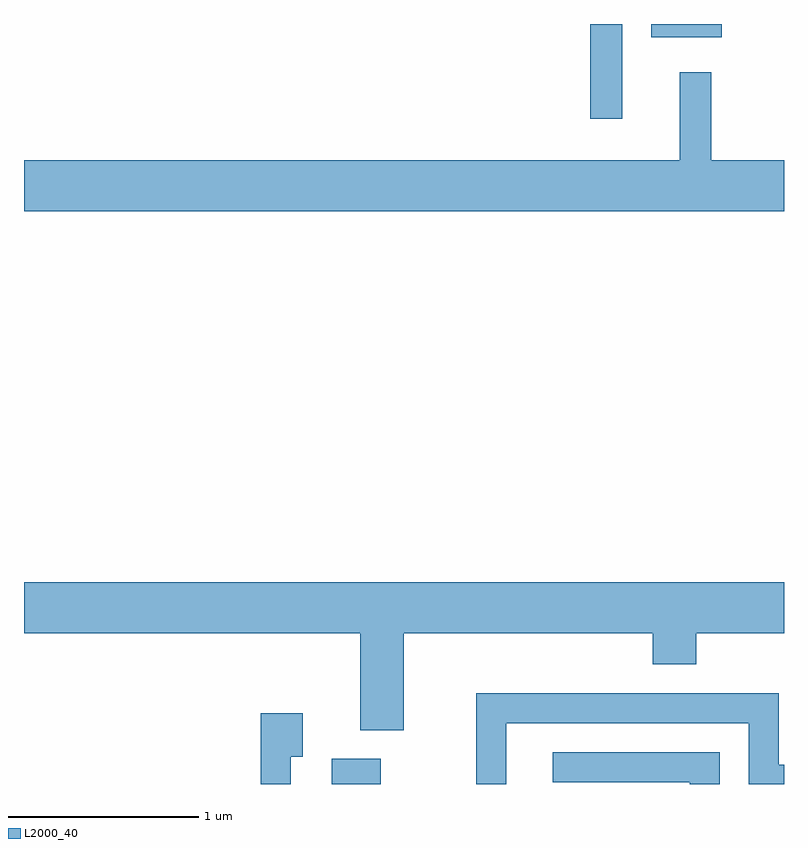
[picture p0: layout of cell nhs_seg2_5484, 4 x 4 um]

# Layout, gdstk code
import gdstk
lib = gdstk.Library(unit=1e-6, precision=1e-09)
def R(c, l, rs):  # rectangles x0, y0, x1, y1
    for r in rs: c.add(gdstk.rectangle(r[:2], r[2:], *l))
def P(c, l, *ps):  # polygons
    for p in ps: c.add(gdstk.Polygon(p, *l))
L2000_40 = (2000, 40)

nhs_seg2_5484 = lib.new_cell('nhs_seg2_5484')
R(nhs_seg2_5484, L2000_40, [(349.231,989.802,349.489,989.934), (350.591,993.303,350.759,993.802), (350.911,993.731,351.284,993.802)])
P(nhs_seg2_5484, L2000_40, [(351.611,993.084),(351.229,993.084),(351.229,993.548),(351.061,993.548),(351.061,993.084),(347.611,993.084),(347.611,992.816),(351.611,992.816)],
  [(349.609,990.596),(350.921,990.596),(350.921,990.431),(351.149,990.431),(351.149,990.596),(351.611,990.596),(351.611,990.864),(347.611,990.864),(347.611,990.596),(349.381,990.596),(349.381,990.086),(349.609,990.086)],
  [(350.149,990.121),(351.426,990.121),(351.426,989.802),(351.611,989.802),(351.611,989.904),(351.584,989.904),(351.584,990.279),(349.991,990.279),(349.991,989.802),(350.149,989.802)],
  [(349.014,989.946),(349.079,989.946),(349.079,990.174),(348.856,990.174),(348.856,989.802),(349.014,989.802)],
  [(351.274,989.969),(350.393,989.969),(350.393,989.811),(351.116,989.811),(351.116,989.802),(351.274,989.802)])

lib.write_gds('nhs_seg2_5484.gds')
